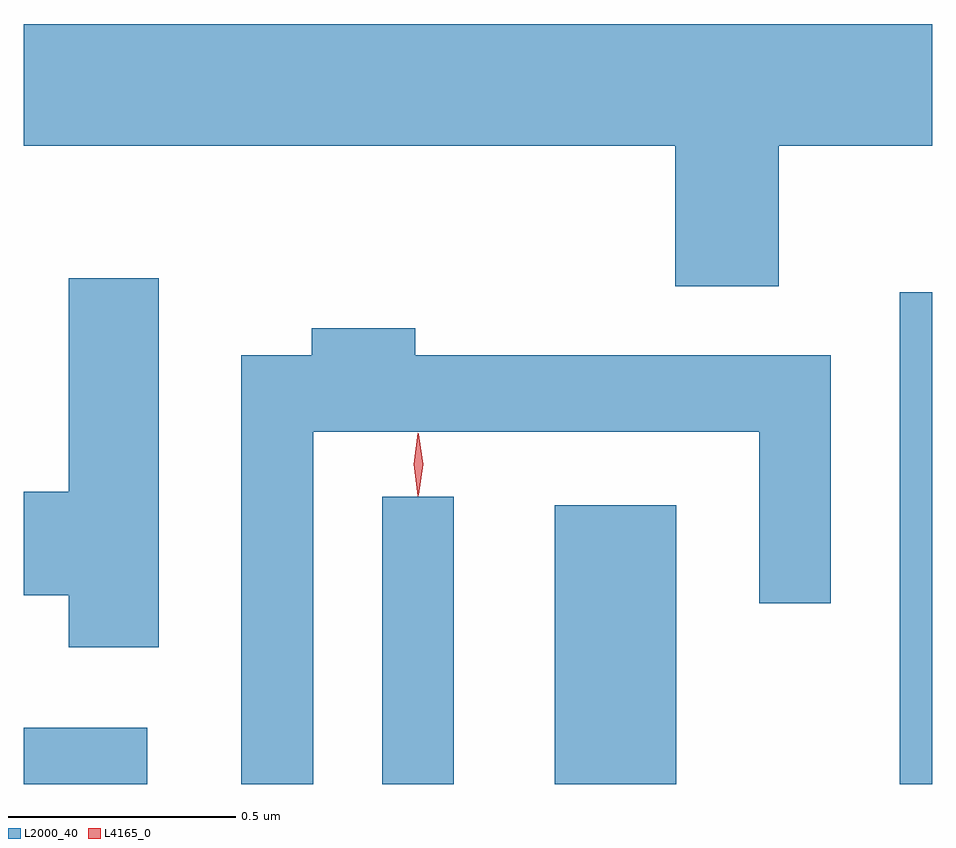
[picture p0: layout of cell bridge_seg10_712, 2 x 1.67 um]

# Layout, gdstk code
import gdstk
lib = gdstk.Library(unit=1e-6, precision=1e-09)
def R(c, l, rs):  # rectangles x0, y0, x1, y1
    for r in rs: c.add(gdstk.rectangle(r[:2], r[2:], *l))
def P(c, l, *ps):  # polygons
    for p in ps: c.add(gdstk.Polygon(p, *l))
L2000_40 = (2000, 40)
L4165_0 = (4165, 0)

bridge_seg10_712 = lib.new_cell('bridge_seg10_712')
R(bridge_seg10_712, L2000_40, [(1024.017,2114.73,1024.289,2114.854), (1024.806,2114.73,1024.964,2115.363), (1025.186,2114.73,1025.454,2115.344), (1025.946,2114.73,1026.017,2115.813)])
P(bridge_seg10_712, L2000_40, [(1025.679,2116.136),(1026.017,2116.136),(1026.017,2116.404),(1024.017,2116.404),(1024.017,2116.136),(1025.451,2116.136),(1025.451,2115.826),(1025.679,2115.826)],
  [(1024.314,2115.844),(1024.116,2115.844),(1024.116,2115.374),(1024.017,2115.374),(1024.017,2115.146),(1024.116,2115.146),(1024.116,2115.031),(1024.314,2115.031)],
  [(1024.654,2115.506),(1025.636,2115.506),(1025.636,2115.128),(1025.794,2115.128),(1025.794,2115.674),(1024.879,2115.674),(1024.879,2115.734),(1024.651,2115.734),(1024.651,2115.674),(1024.496,2115.674),(1024.496,2114.73),(1024.654,2114.73)])
P(bridge_seg10_712, L4165_0, [(1024.886,2115.367),(1024.886,2115.367),(1024.876,2115.434),(1024.886,2115.5),(1024.886,2115.501),(1024.886,2115.5),(1024.896,2115.434),(1024.886,2115.367)],
  [(1024.884,2115.364),(1024.875,2115.434),(1024.884,2115.503),(1024.885,2115.503),(1024.885,2115.503),(1024.895,2115.434),(1024.885,2115.364),(1024.885,2115.364)])

lib.write_gds('bridge_seg10_712.gds')
